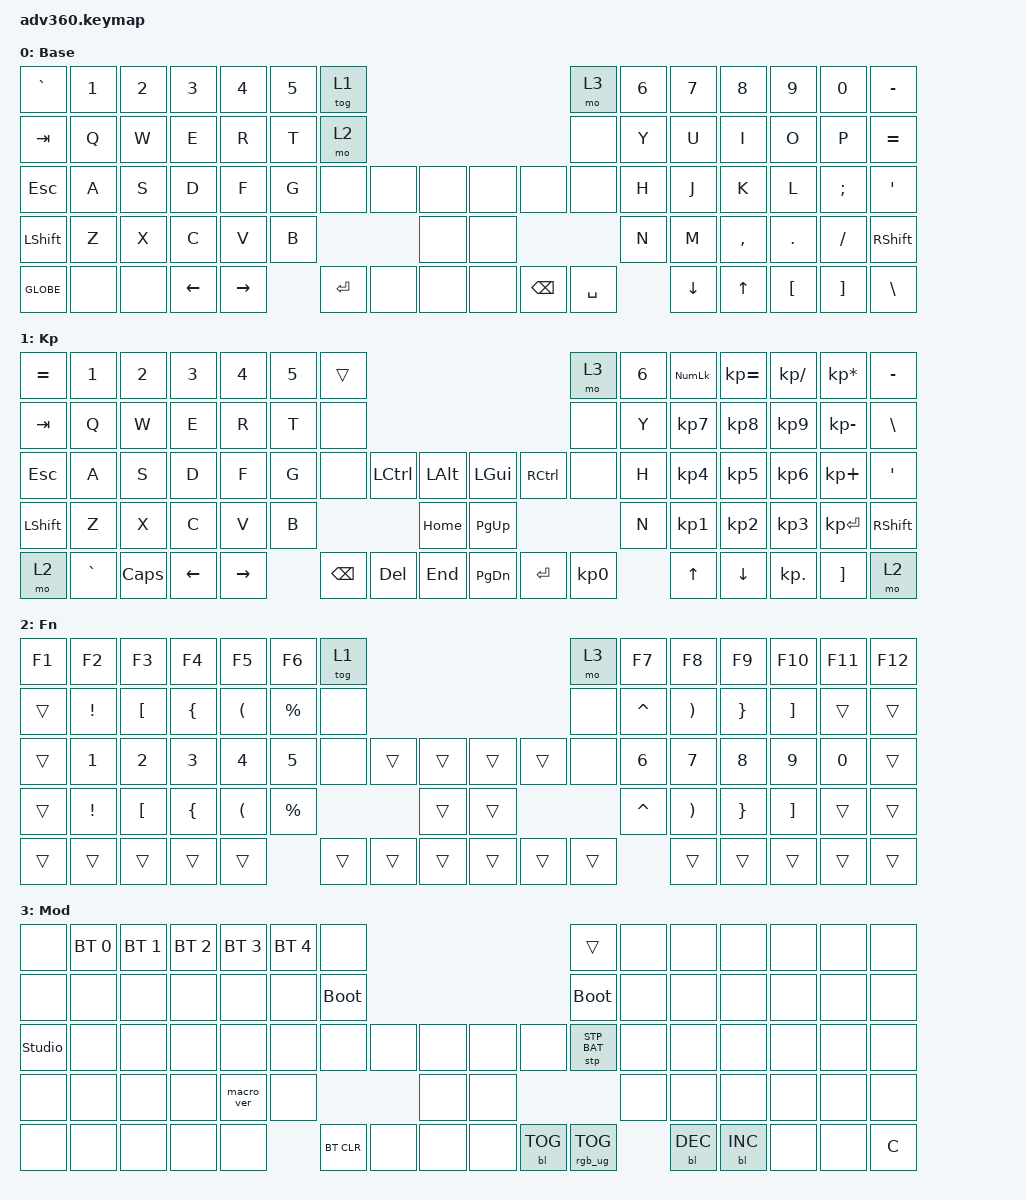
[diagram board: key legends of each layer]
#include <dt-bindings/zmk/stp.h>
#include <behaviors.dtsi>
#include <dt-bindings/zmk/backlight.h>
#include <dt-bindings/zmk/bt.h>
#include <dt-bindings/zmk/keys.h>
#include <dt-bindings/zmk/rgb.h>

/ {
    behaviors {
        #include "macros.dtsi"
      #include "version.dtsi"

        hm: homerow_mods {
            compatible = "zmk,behavior-hold-tap";
            label = "HOMEROW_MODS";
            #binding-cells = <2>;
            tapping-term-ms = <200>;
            quick_tap_ms = <175>;
            flavor = "tap-preferred";
            bindings = <&kp>, <&kp>;
        };
    };

    combos {
        compatible = "zmk,combos";

        left_cmd_combo {
            bindings = <&kp LEFT_COMMAND>;
            key-positions = <31 30>;
            timeout-ms = <28>;
        };

        right_cmd_combo {
            bindings = <&kp RIGHT_COMMAND>;
            key-positions = <42 43>;
            timeout-ms = <28>;
        };

        left_control_combo {
            bindings = <&kp LEFT_CONTROL>;
            key-positions = <48 49>;
            timeout-ms = <28>;
        };

        right_control_combo {
            bindings = <&kp RIGHT_CONTROL>;
            key-positions = <56 57>;
            timeout-ms = <28>;
        };

        left_home {
            bindings = <&kp HOME>;
            key-positions = <31 32>;
            timeout-ms = <28>;
        };

        right_home {
            bindings = <&kp HOME>;
            key-positions = <41 42>;
            timeout-ms = <28>;
        };

        left_opt {
            bindings = <&kp LEFT_ALT>;
            key-positions = <32 30>;
        };

        right_opt {
            bindings = <&kp RIGHT_ALT>;
            key-positions = <41 43>;
        };

        left_layer_2 {
            bindings = <&mo 2>;
            key-positions = <18 17>;
            timeout-ms = <28>;
        };

        right_layer_2 {
            bindings = <&mo 2>;
            key-positions = <23 24>;
            timeout-ms = <28>;
        };

        left_end {
            bindings = <&kp END>;
            key-positions = <17 16>;
            timeout-ms = <28>;
        };

        right_end {
            bindings = <&kp END>;
            key-positions = <24 25>;
            timeout-ms = <28>;
        };
    };

    keymap {
        compatible = "zmk,keymap";

        default_layer {
            display-name = "Base";
            bindings = <
&kp GRAVE   &kp N1  &kp N2  &kp N3    &kp N4     &kp N5  &tog 1                                              &mo 3      &kp N6  &kp N7          &kp N8        &kp N9    &kp N0    &kp MINUS
&kp TAB     &kp Q   &kp W   &kp E     &kp R      &kp T   &mo 2                                               &none      &kp Y   &kp U           &kp I         &kp O     &kp P     &kp EQUAL
&kp ESCAPE  &kp A   &kp S   &kp D     &kp F      &kp G   &none       &none  &none      &none  &none          &none      &kp H   &kp J           &kp K         &kp L     &kp SEMI  &kp SQT
&kp LSHFT   &kp Z   &kp X   &kp C     &kp V      &kp B                      &none      &none                            &kp N   &kp M           &kp COMMA     &kp DOT   &kp FSLH  &kp RSHFT
&kp GLOBE   &none   &none   &kp LEFT  &kp RIGHT          &kp RETURN  &none  &none      &none  &kp BACKSPACE  &kp SPACE          &kp DOWN_ARROW  &kp UP_ARROW  &kp LBKT  &kp RBKT  &kp BSLH
            >;
        };

        keypad {
            display-name = "Kp";
            bindings = <
&kp EQUAL  &kp N1     &kp N2    &kp N3    &kp N4     &kp N5  &trans                                                   &mo 3      &kp N6  &kp KP_NUM  &kp KP_EQUAL  &kp KP_DIVIDE  &kp KP_MULTIPLY  &kp MINUS
&kp TAB    &kp Q      &kp W     &kp E     &kp R      &kp T   &none                                                    &none      &kp Y   &kp KP_N7   &kp KP_N8     &kp KP_N9      &kp KP_MINUS     &kp BSLH
&kp ESC    &kp A      &kp S     &kp D     &kp F      &kp G   &none     &kp LCTRL  &kp LALT      &kp LGUI   &kp RCTRL  &none      &kp H   &kp KP_N4   &kp KP_N5     &kp KP_N6      &kp KP_PLUS      &kp SQT
&kp LSHFT  &kp Z      &kp X     &kp C     &kp V      &kp B                        &kp HOME      &kp PG_UP                        &kp N   &kp KP_N1   &kp KP_N2     &kp KP_N3      &kp KP_ENTER     &kp RSHFT
&mo 2      &kp GRAVE  &kp CAPS  &kp LEFT  &kp RIGHT          &kp BSPC  &kp DEL    &kp END       &kp PG_DN  &kp ENTER  &kp KP_N0          &kp UP      &kp DOWN      &kp KP_DOT     &kp RBKT         &mo 2
            >;
        };

        fn {
            display-name = "Fn";
            bindings = <
&kp F1  &kp F2        &kp F3            &kp F4          &kp F5                &kp F6       &tog 1                                      &mo 3   &kp F7        &kp F8                 &kp F9           &kp F10            &kp F11  &kp F12
&trans  &kp EXCL      &kp LEFT_BRACKET  &kp LEFT_BRACE  &kp LEFT_PARENTHESIS  &kp PERCENT  &none                                       &none   &kp CARET     &kp RIGHT_PARENTHESIS  &kp RIGHT_BRACE  &kp RIGHT_BRACKET  &trans   &trans
&trans  &kp NUMBER_1  &kp NUMBER_2      &kp NUMBER_3    &kp NUMBER_4          &kp N5       &none   &trans  &trans      &trans  &trans  &none   &kp NUMBER_6  &kp N7                 &kp NUMBER_8     &kp N9             &kp N0   &trans
&trans  &kp EXCL      &kp LEFT_BRACKET  &kp LEFT_BRACE  &kp LEFT_PARENTHESIS  &kp PERCENT                  &trans      &trans                  &kp CARET     &kp RIGHT_PARENTHESIS  &kp RIGHT_BRACE  &kp RIGHT_BRACKET  &trans   &trans
&trans  &trans        &trans            &trans          &trans                             &trans  &trans  &trans      &trans  &trans  &trans                &trans                 &trans           &trans             &trans   &trans
            >;
        };

        mod {
            display-name = "Mod";
            bindings = <
&none           &bt BT_SEL 0  &bt BT_SEL 1  &bt BT_SEL 2  &bt BT_SEL 3  &bt BT_SEL 4  &none                                             &trans           &none  &none       &none       &none  &none  &none
&none           &none         &none         &none         &none         &none         &bootloader                                       &bootloader      &none  &none       &none       &none  &none  &none
&studio_unlock  &none         &none         &none         &none         &none         &none        &none  &none      &none  &none       &stp STP_BAT     &none  &none       &none       &none  &none  &none
&none           &none         &none         &none         &macro_ver    &none                             &none      &none                               &none  &none       &none       &none  &none  &none
&none           &none         &none         &none         &none                       &bt BT_CLR   &none  &none      &none  &bl BL_TOG  &rgb_ug RGB_TOG         &bl BL_DEC  &bl BL_INC  &none  &none  &kp C
            >;
        };

        extra1 {
            display-name = "Red";
            status = "reserved";
        };

        extra2 {
            display-name = "Purple";
            status = "reserved";
        };

        extra3 {
            display-name = "Cyan";
            status = "reserved";
        };

        extra4 {
            display-name = "Yellow";
            status = "reserved";
        };
    };
};
